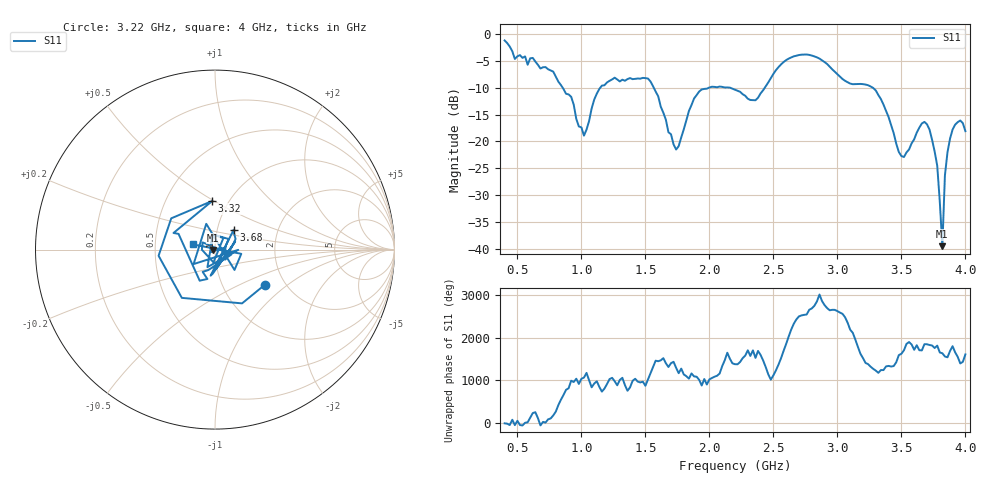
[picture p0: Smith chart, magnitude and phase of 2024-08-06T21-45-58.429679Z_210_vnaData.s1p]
!Created with skrf (http://scikit-rf.org).
# Hz S RI R 50.0
!freq ReS11 ImS11
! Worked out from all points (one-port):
!   181 points, 400 MHz to 4 GHz, reference 50 ohm
!   lowest |S11| = -39.6 dB at 3.82 GHz (marker M1), VSWR 1.02, Z = 49 - j0.24 ohm
!   |S11| at or under -10 dB: 855 MHz to 1.146 GHz (290.7 MHz wide, 29.1 % of centre); 1.566 GHz to 1.992 GHz (425.4 MHz wide, 23.9 % of centre); 3.28 GHz to end of sweep (the widest 3 of 4)
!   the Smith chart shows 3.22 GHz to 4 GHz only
!   S11 on the Smith chart (normalised r, x): 3.22 GHz: 1.58, -0.70; 3.32 GHz: 0.84, +0.49; 3.68 GHz: 1.20, +0.27; 4 GHz: 0.78, +0.05
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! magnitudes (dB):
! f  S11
! 400 MHz  -1.1
! 480 MHz  -4.6
! 620 MHz  -4.4
! 860 MHz  -10.2
! 920 MHz  -11.6
! 1.02 GHz  -18.9
! 1.14 GHz  -10.2
! 1.3 GHz  -8.8
! 1.52 GHz  -8.2
! 1.76 GHz  -20.9
! 1.92 GHz  -10.7
! 2.2 GHz  -10.3
! 2.36 GHz  -12.3
! 2.66 GHz  -4.1
! 2.86 GHz  -4.5
! 3.1 GHz  -9.2
! 3.22 GHz  -9.4
! 3.32 GHz  -11.3
! 3.48 GHz  -22.0
! 3.56 GHz  -21.5
! 3.68 GHz  -16.3
! 3.72 GHz  -17.8
! 3.78 GHz  -24.5
! 3.82 GHz  -39.6
! 3.84 GHz  -26.3
! 3.88 GHz  -19.5
! 3.96 GHz  -16.1
! 4 GHz  -18.1
